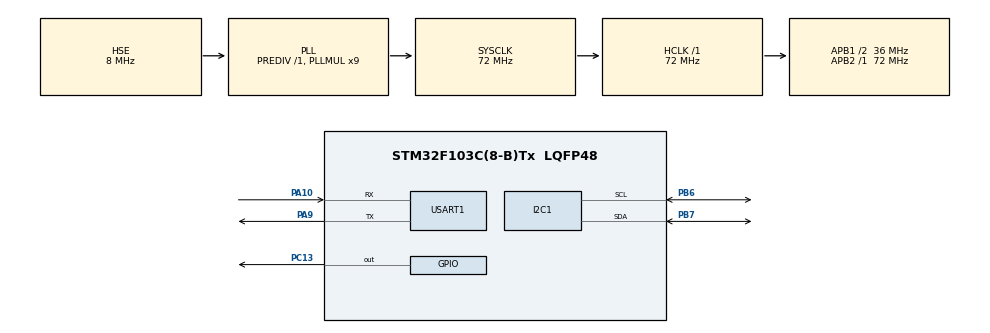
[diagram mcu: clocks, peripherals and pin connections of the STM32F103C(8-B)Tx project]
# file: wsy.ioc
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Dma.I2C1_RX.0.Direction=DMA_PERIPH_TO_MEMORY
Dma.I2C1_RX.0.Instance=DMA1_Channel7
Dma.I2C1_RX.0.MemDataAlignment=DMA_MDATAALIGN_BYTE
Dma.I2C1_RX.0.MemInc=DMA_MINC_ENABLE
Dma.I2C1_RX.0.Mode=DMA_NORMAL
Dma.I2C1_RX.0.PeriphDataAlignment=DMA_PDATAALIGN_BYTE
Dma.I2C1_RX.0.PeriphInc=DMA_PINC_DISABLE
Dma.I2C1_RX.0.Priority=DMA_PRIORITY_LOW
Dma.I2C1_TX.1.Direction=DMA_MEMORY_TO_PERIPH
Dma.I2C1_TX.1.Instance=DMA1_Channel6
Dma.I2C1_TX.1.MemDataAlignment=DMA_MDATAALIGN_BYTE
Dma.I2C1_TX.1.MemInc=DMA_MINC_ENABLE
Dma.I2C1_TX.1.Mode=DMA_NORMAL
Dma.I2C1_TX.1.PeriphDataAlignment=DMA_PDATAALIGN_BYTE
Dma.I2C1_TX.1.PeriphInc=DMA_PINC_DISABLE
Dma.I2C1_TX.1.Priority=DMA_PRIORITY_LOW
Dma.Request0=I2C1_RX
Dma.Request1=I2C1_TX
Mcu.Family=STM32F1
Mcu.Name=STM32F103C(8-B)Tx
Mcu.Package=LQFP48
NVIC.DMA1_Channel6_IRQn=true\:0\:0\:false\:false\:true\:false\:true\:true
NVIC.DMA1_Channel7_IRQn=true\:0\:0\:false\:false\:true\:false\:true\:true
NVIC.I2C1_ER_IRQn=true\:0\:0\:false\:false\:true\:true\:true\:true
NVIC.I2C1_EV_IRQn=true\:0\:0\:false\:false\:true\:true\:true\:true
NVIC.PriorityGroup=NVIC_PRIORITYGROUP_4
PA10.Mode=Asynchronous
PA10.Signal=USART1_RX
PA13.Mode=Serial_Wire
PA13.Signal=SYS_JTMS-SWDIO
PA14.Mode=Serial_Wire
PA14.Signal=SYS_JTCK-SWCLK
PA9.Mode=Asynchronous
PA9.Signal=USART1_TX
PB6.Mode=I2C
PB6.Signal=I2C1_SCL
PB7.Mode=I2C
PB7.Signal=I2C1_SDA
PC13-TAMPER-RTC.Signal=GPIO_Output
PC14-OSC32_IN.Mode=LSE-External-Oscillator
PC14-OSC32_IN.Signal=RCC_OSC32_IN
PC15-OSC32_OUT.Mode=LSE-External-Oscillator
PC15-OSC32_OUT.Signal=RCC_OSC32_OUT
PD0-OSC_IN.Mode=HSE-External-Oscillator
PD0-OSC_IN.Signal=RCC_OSC_IN
PD1-OSC_OUT.Mode=HSE-External-Oscillator
PD1-OSC_OUT.Signal=RCC_OSC_OUT
ProjectManager.HeapSize=0x200
ProjectManager.StackSize=0x400
ProjectManager.TargetToolchain=CMake
RCC.AHBFreq_Value=72000000
RCC.APB1CLKDivider=RCC_HCLK_DIV2
RCC.APB1Freq_Value=36000000
RCC.APB1TimFreq_Value=72000000
RCC.APB2Freq_Value=72000000
RCC.APB2TimFreq_Value=72000000
RCC.HCLKFreq_Value=72000000
RCC.PLLMUL=RCC_PLL_MUL9
RCC.PLLSourceVirtual=RCC_PLLSOURCE_HSE
RCC.RTCClockSelection=RCC_RTCCLKSOURCE_LSE
RCC.SYSCLKFreq_VALUE=72000000
RCC.SYSCLKSource=RCC_SYSCLKSOURCE_PLLCLK
RCC.USBFreq_Value=72000000
RTC.AutoPrediv=RTC_AUTO_1_SECOND
USART1.VirtualMode=VM_ASYNC
VP_RTC_VS_RTC_Activate.Mode=RTC_Enabled
board=custom

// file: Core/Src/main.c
/* USER CODE BEGIN Header */
/**
  ******************************************************************************
  * @file           : main.c
  * @brief          : Main program body
  ******************************************************************************
  * @attention
  *
  * Copyright (c) 2026 STMicroelectronics.
  * All rights reserved.
  *
  * This software is licensed under terms that can be found in the LICENSE file
  * in the root directory of this software component.
  * If no LICENSE file comes with this software, it is provided AS-IS.
  *
  ******************************************************************************
  */
/* USER CODE END Header */
#include "main.h"
#include "dma.h"
#include "i2c.h"
#include "rtc.h"
#include "usart.h"
#include "gpio.h"

/* USER CODE BEGIN Includes */
#include "oled.h"
#include "aht20.h"
#include <stdio.h>
#include "bmp280.h"
#include "error_code.h"
#include "zj_rtc.h"

/* USER CODE END Includes */

/* USER CODE BEGIN PV */
/* AHT20 输出 float,BMP280 补偿函数输出 double,类型要和驱动一致 */
static float  aht_temp = 0.0f;
static float  aht_hum  = 0.0f;
static double bmp_temp = 0.0;
static double bmp_pressure = 0.0;   /* 单位 Pa,显示时换算成 hPa */

/* 4行显示缓存:屏幕每行最多21个ASCII字符,24字节留余量(旧代码20字节会触发sprintf溢出警告) */
static char line1[30];
static char line2[24];
static char line3[24];
static char line4[24];

static uint8_t last_hour = 0xFF;   // 初值给0xFF,保证上电第一次!=当前小时
//static uint8_t first_run = 1;
/* USER CODE END PV */

void SystemClock_Config(void);

int main(void)
{

  /* MCU Configuration--------------------------------------------------------*/

  /* Reset of all peripherals, Initializes the Flash interface and the Systick. */
  HAL_Init();

  /* Configure the system clock */
  SystemClock_Config();

  /* Initialize all configured peripherals */
  MX_GPIO_Init();
  MX_DMA_Init();
  MX_I2C1_Init();
  MX_RTC_Init();
  MX_USART1_UART_Init();
  /* USER CODE BEGIN 2 */
  OLED_Init();
  ZJ_RTC_SetDateTime(2026, 9, 13, 14, 4, 0);

  while (1)
  {
    DeviceError_t err;
    err = AHT20_Init();
    if(err != ERR_OK)
    {
      if(err == ERR_NOT_RESPOND) I2C1_Recover();
      OLED_Clear();
      OLED_SetCursor(2, 18);
      sprintf(line2, "AHT20 %s", ErrorToStr(err));
      OLED_ShowString(line2);
      OLED_Update();
      HAL_Delay(500);
      continue;
    }

    err = BMP280_Init();
    if(err != ERR_OK)
    {
      if(err == ERR_NOT_RESPOND) I2C1_Recover();
      OLED_Clear();
      OLED_SetCursor(2, 32);
      sprintf(line3, "BMP280 %s", ErrorToStr(err));
      OLED_ShowString(line3);
      OLED_Update();
      HAL_Delay(500);
      continue;
    }

    break;   /* 两个设备都就绪 */
  }
  /* USER CODE END 2 */

  /* Infinite loop */
  /* USER CODE BEGIN WHILE */
  while (1)
  {
    RTC_DateTypeDef d;
    RTC_TimeTypeDef t;
    if (ZJ_RTC_GetDateTime(&d, &t) == ERR_OK)
    {
      sprintf(line1, "20%02d-%02d-%02d %02d:%02d:%02d", d.Year, d.Month, d.Date, t.Hours, t.Minutes, t.Seconds);
    }
    else
    {
      sprintf (line1, "RTC Error");
    }

    DeviceError_t aht_err = AHT20_Read(&aht_temp, &aht_hum);
    if (aht_err == ERR_OK)
    {
      sprintf (line2, "温度: %.2f ℃", aht_temp);
      sprintf (line3, "湿度: %.2f %%", aht_hum);
    }
    else
    {
      sprintf (line2, "AHT20 Error");
      sprintf (line3, "AHT20 Error");
    }

    DeviceError_t bmp_err = BMP280_Read(&bmp_pressure, &bmp_temp);
    if (bmp_err == ERR_OK)
    {
      sprintf (line4, "气压: %.2f hPa", bmp_pressure/100.0);
    }
    else
    {
      sprintf (line4, "BMP280 Error");
    }

    OLED_Clear();
    OLED_SetCursor(2,2);
    OLED_ShowString(line1);
    OLED_SetCursor(2, 18);
    OLED_ShowString(line2);
    OLED_SetCursor(2, 32);
    OLED_ShowString(line3);
    OLED_SetCursor(2, 46);
    OLED_ShowString(line4);
    OLED_Update();

    /* I2C 通信失败时复位外设,清掉主机侧残留状态 */
    if (aht_err == ERR_NOT_RESPOND || bmp_err == ERR_NOT_RESPOND)
    {
      I2C1_Recover();
    }

    if (t.Hours != last_hour)
    {
      /* 串口调试:成功时打印时间戳+原始码值+换算值,供校准比对 */
      if (aht_err == ERR_OK && bmp_err == ERR_OK)
      {
      uint32_t aht_rt, aht_rh;
      int32_t  bmp_rp, bmp_rt;
      AHT20_GetRaw(&aht_rt, &aht_rh);
      BMP280_GetRaw(&bmp_rp, &bmp_rt);
      Debug_Print("[%s] AHT raw T=%lu H=%lu | %.2fC %.2f%% | BMP raw P=%ld T=%ld | %.2fhPa %.2fC\r\n",
                  line1, aht_rt, aht_rh, aht_temp, aht_hum,
                  bmp_rp, bmp_rt, bmp_pressure/100.0, bmp_temp);
      }
    }

    last_hour = t.Hours;
    /* USER CODE END WHILE */

  }
}

void SystemClock_Config(void)
{
  RCC_OscInitTypeDef RCC_OscInitStruct = {0};
  RCC_ClkInitTypeDef RCC_ClkInitStruct = {0};
  RCC_PeriphCLKInitTypeDef PeriphClkInit = {0};

  /** Initializes the RCC Oscillators according to the specified parameters
  * in the RCC_OscInitTypeDef structure.
  */
  RCC_OscInitStruct.OscillatorType = RCC_OSCILLATORTYPE_HSE|RCC_OSCILLATORTYPE_LSE;
  RCC_OscInitStruct.HSEState = RCC_HSE_ON;
  RCC_OscInitStruct.HSEPredivValue = RCC_HSE_PREDIV_DIV1;
  RCC_OscInitStruct.LSEState = RCC_LSE_ON;
  RCC_OscInitStruct.HSIState = RCC_HSI_ON;
  RCC_OscInitStruct.PLL.PLLState = RCC_PLL_ON;
  RCC_OscInitStruct.PLL.PLLSource = RCC_PLLSOURCE_HSE;
  RCC_OscInitStruct.PLL.PLLMUL = RCC_PLL_MUL9;
  if (HAL_RCC_OscConfig(&RCC_OscInitStruct) != HAL_OK)
  {
    Error_Handler();
  }

  /** Initializes the CPU, AHB and APB buses clocks
  */
  RCC_ClkInitStruct.ClockType = RCC_CLOCKTYPE_HCLK|RCC_CLOCKTYPE_SYSCLK
                              |RCC_CLOCKTYPE_PCLK1|RCC_CLOCKTYPE_PCLK2;
  RCC_ClkInitStruct.SYSCLKSource = RCC_SYSCLKSOURCE_PLLCLK;
  RCC_ClkInitStruct.AHBCLKDivider = RCC_SYSCLK_DIV1;
  RCC_ClkInitStruct.APB1CLKDivider = RCC_HCLK_DIV2;
  RCC_ClkInitStruct.APB2CLKDivider = RCC_HCLK_DIV1;

  if (HAL_RCC_ClockConfig(&RCC_ClkInitStruct, FLASH_LATENCY_2) != HAL_OK)
  {
    Error_Handler();
  }
  PeriphClkInit.PeriphClockSelection = RCC_PERIPHCLK_RTC;
  PeriphClkInit.RTCClockSelection = RCC_RTCCLKSOURCE_LSE;
  if (HAL_RCCEx_PeriphCLKConfig(&PeriphClkInit) != HAL_OK)
  {
    Error_Handler();
  }
}

void Error_Handler(void)
{
  __disable_irq();
  while (1)
  {
  }
}
